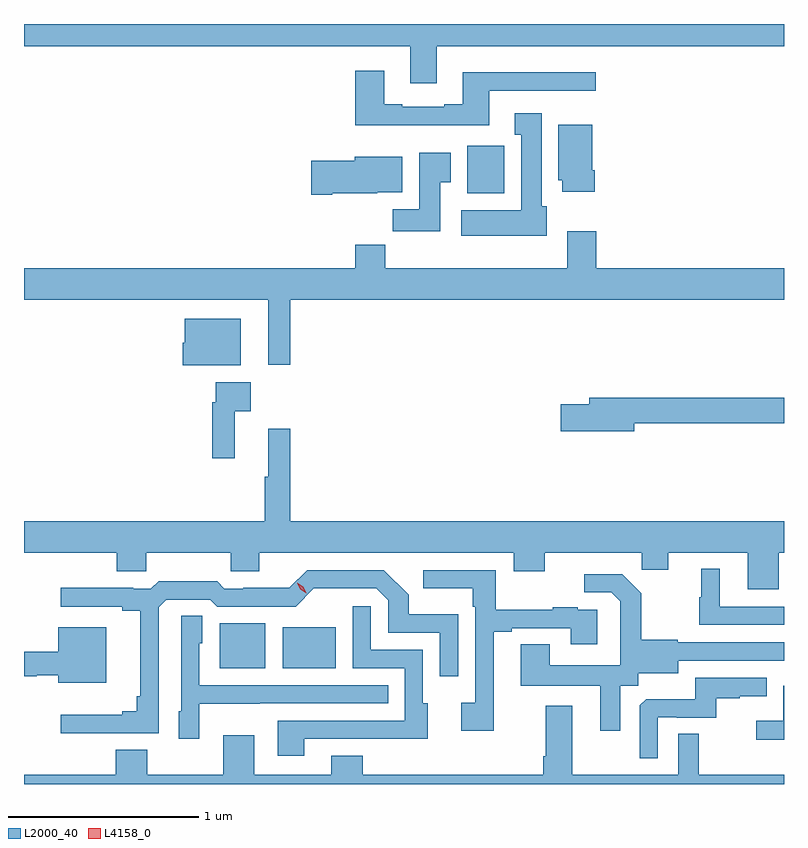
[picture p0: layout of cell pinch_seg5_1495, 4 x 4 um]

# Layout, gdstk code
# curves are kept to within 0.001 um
import gdstk
lib = gdstk.Library(unit=1e-6, precision=1e-09)
def R(c, l, rs):  # rectangles x0, y0, x1, y1
    for r in rs: c.add(gdstk.rectangle(r[:2], r[2:], *l))
def P(c, l, *ps):  # polygons
    for p in ps: c.add(gdstk.Polygon(p, *l))
L2000_40 = (2000, 40)
L4158_0 = (4158, 0)

pinch_seg5_1495 = lib.new_cell('pinch_seg5_1495')
R(pinch_seg5_1495, L2000_40, [(250.121,841.499,250.36,841.735), (250.454,841.499,250.732,841.714), (251.423,843.998,251.619,844.249)])
P(pinch_seg5_1495, L2000_40, [(251.263,844.772),(253.091,844.772),(253.091,844.89),(249.091,844.89),(249.091,844.772),(251.123,844.772),(251.123,844.578),(251.263,844.578)],
  [(251.539,844.539),(252.1,844.539),(252.1,844.636),(251.399,844.636),(251.399,844.468),(251.303,844.468),(251.303,844.455),(251.083,844.455),(251.083,844.468),(250.987,844.468),(250.987,844.645),(250.835,844.645),(250.835,844.358),(251.539,844.358)],
  [(251.842,843.93),(251.815,843.93),(251.815,844.42),(251.675,844.42),(251.675,844.307),(251.708,844.307),(251.708,843.91),(251.391,843.91),(251.391,843.776),(251.842,843.776)],
  [(252.095,844.12),(252.082,844.12),(252.082,844.36),(251.903,844.36),(251.903,844.068),(251.924,844.068),(251.924,844.008),(252.095,844.008)],
  [(251.281,844.057),(251.338,844.057),(251.338,844.213),(251.171,844.213),(251.171,843.916),(251.032,843.916),(251.032,843.798),(251.281,843.798)],
  [(250.714,843.998),(250.95,843.998),(250.95,844.004),(251.083,844.004),(251.083,844.192),(250.832,844.192),(250.832,844.169),(250.602,844.169),(250.602,843.991),(250.714,843.991)],
  [(250.493,843.44),(253.091,843.44),(253.091,843.604),(252.104,843.604),(252.104,843.799),(251.951,843.799),(251.951,843.604),(250.991,843.604),(250.991,843.728),(250.835,843.728),(250.835,843.604),(249.091,843.604),(249.091,843.44),(250.376,843.44),(250.376,843.096),(250.493,843.096)],
  [(250.231,843.34),(249.938,843.34),(249.938,843.213),(249.926,843.213),(249.926,843.095),(250.231,843.095)],
  [(250.199,842.852),(250.285,842.852),(250.285,843.004),(250.101,843.004),(250.101,842.9),(250.081,842.9),(250.081,842.604),(250.199,842.604)],
  [(252.304,842.788),(253.091,842.788),(253.091,842.924),(252.065,842.924),(252.065,842.888),(251.916,842.888),(251.916,842.746),(252.304,842.746)],
  [(253.063,842.108),(253.091,842.108),(253.091,842.272),(250.493,842.272),(250.493,842.761),(250.376,842.761),(250.376,842.508),(250.357,842.508),(250.357,842.272),(249.091,842.272),(249.091,842.108),(249.58,842.108),(249.58,842.01),(249.735,842.01),(249.735,842.108),(250.18,842.108),(250.18,842.01),(250.33,842.01),(250.33,842.108),(251.669,842.108),(251.669,842.009),(251.833,842.009),(251.833,842.108),(252.343,842.108),(252.343,842.018),(252.481,842.018),(252.481,842.108),(252.899,842.108),(252.899,841.914),(253.063,841.914)],
  [(253.091,841.824),(252.754,841.824),(252.754,842.023),(252.656,842.023),(252.656,841.872),(252.645,841.872),(252.645,841.728),(253.091,841.728)],
  [(249.801,841.821),(249.84,841.86),(250.071,841.86),(250.107,841.824),(250.521,841.824),(250.616,841.919),(250.944,841.92),(251.007,841.857),(251.007,841.686),(251.28,841.686),(251.28,841.458),(251.376,841.458),(251.376,841.783),(251.115,841.783),(251.115,841.886),(250.984,842.016),(250.581,842.016),(250.487,841.922),(250.246,841.922),(250.246,841.917),(250.146,841.917),(250.107,841.957),(249.799,841.957),(249.759,841.917),(249.665,841.917),(249.665,841.922),(249.285,841.922),(249.285,841.824),(249.608,841.824),(249.608,841.802),(249.704,841.802),(249.704,841.351),(249.685,841.351),(249.685,841.274),(249.608,841.274),(249.608,841.255),(249.285,841.255),(249.285,841.158),(249.801,841.158)],
  [(251.563,841.692),(251.659,841.692),(251.659,841.71),(251.969,841.71),(251.969,841.626),(252.109,841.626),(252.109,841.806),(252.005,841.806),(252.005,841.819),(251.873,841.819),(251.873,841.808),(251.575,841.808),(251.575,842.016),(251.193,842.016),(251.193,841.919),(251.454,841.919),(251.454,841.823),(251.466,841.823),(251.466,841.318),(251.391,841.318),(251.391,841.17),(251.563,841.17)],
  [(252.229,841.408),(252.324,841.408),(252.324,841.472),(252.535,841.472),(252.535,841.539),(253.091,841.539),(253.091,841.635),(252.531,841.635),(252.531,841.648),(252.339,841.648),(252.339,841.893),(252.239,841.993),(252.039,841.993),(252.039,841.899),(252.183,841.899),(252.23,841.852),(252.23,841.757),(252.228,841.757),(252.228,841.516),(251.857,841.516),(251.857,841.625),(251.705,841.625),(251.705,841.406),(252.125,841.406),(252.125,841.17),(252.229,841.17)],
  [(250.567,841.128),(250.997,841.128),(250.997,841.127),(251.215,841.127),(251.215,841.314),(251.19,841.314),(251.19,841.596),(250.917,841.596),(250.917,841.825),(250.821,841.825),(250.821,841.5),(251.094,841.5),(251.094,841.224),(250.427,841.224),(250.427,841.038),(250.567,841.038)],
  [(250.014,841.313),(250.331,841.313),(250.331,841.314),(251.009,841.314),(251.009,841.41),(250.014,841.41),(250.014,841.632),(250.03,841.632),(250.03,841.775),(249.918,841.775),(249.918,841.272),(249.905,841.272),(249.905,841.128),(250.014,841.128)],
  [(249.523,841.714),(249.272,841.714),(249.272,841.585),(249.091,841.585),(249.091,841.456),(249.159,841.456),(249.159,841.463),(249.272,841.463),(249.272,841.424),(249.523,841.424)],
  [(252.426,841.242),(252.526,841.242),(252.526,841.239),(252.734,841.239),(252.734,841.341),(252.857,841.341),(252.857,841.352),(253.001,841.352),(253.001,841.449),(252.624,841.449),(252.624,841.337),(252.365,841.337),(252.333,841.305),(252.333,841.025),(252.426,841.025)],
  [(253.091,841.407),(253.086,841.407),(253.086,841.222),(252.945,841.222),(252.945,841.124),(253.091,841.124)],
  [(253.091,840.94),(252.643,840.94),(252.643,841.154),(252.534,841.154),(252.534,840.94),(251.977,840.94),(251.977,841.303),(251.837,841.303),(251.837,841.036),(251.825,841.036),(251.825,840.94),(250.873,840.94),(250.873,841.039),(250.709,841.039),(250.709,840.94),(250.303,840.94),(250.303,841.147),(250.139,841.147),(250.139,840.94),(249.739,840.94),(249.739,841.069),(249.575,841.069),(249.575,840.94),(249.091,840.94),(249.091,840.89),(253.091,840.89)])
P(pinch_seg5_1495, L4158_0, [(250.576,841.895),(250.545,841.916),(250.529,841.95),(250.529,841.95),(250.529,841.95),(250.56,841.929),(250.576,841.895),(250.576,841.895)])

lib.write_gds('pinch_seg5_1495.gds')
